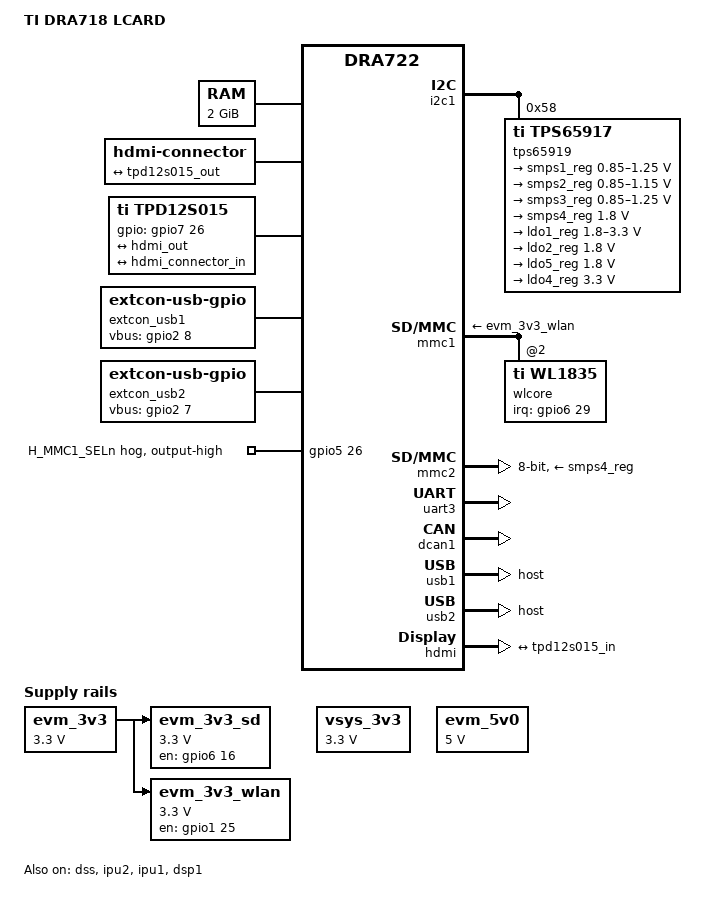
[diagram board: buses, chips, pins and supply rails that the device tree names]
/*
 * Copyright (C) 2017 Texas Instruments Incorporated - http://www.ti.com/
 *
 * This program is free software; you can redistribute it and/or modify
 * it under the terms of the GNU General Public License version 2 as
 * published by the Free Software Foundation.
 */
/dts-v1/;

#include "dra72x.dtsi"
#include "dra72x-mmc-iodelay.dtsi"
#include "dra7-ipu-dsp-common.dtsi"
#include <dt-bindings/net/ti-dp83867.h>
#include <dt-bindings/gpio/gpio.h>

/ {
	compatible = "ti,dra718-lcard", "ti,dra718", "ti,dra722", "ti,dra72", "ti,dra7";
	model = "TI DRA718 LCARD";
	chosen {
		stdout-path = &uart3;
	};

	aliases {
		display0 = &hdmi0;
		sound1 = &hdmi;
	};

	memory {
		device_type = "memory";
		reg = <0x0 0x80000000 0x0 0x80000000>; /* 2GB */
	};

	reserved-memory {
		#address-cells = <2>;
		#size-cells = <2>;
		ranges;

		ipu2_memory_region: ipu2-memory@95800000 {
			compatible = "shared-dma-pool";
			reg = <0x0 0x95800000 0x0 0x3800000>;
			reusable;
			status = "okay";
		};

		dsp1_memory_region: dsp1-memory@99000000 {
			compatible = "shared-dma-pool";
			reg = <0x0 0x99000000 0x0 0x4000000>;
			reusable;
			status = "okay";
		};

		ipu1_memory_region: ipu1-memory@9d000000 {
			compatible = "shared-dma-pool";
			reg = <0x0 0x9d000000 0x0 0x2000000>;
			reusable;
			status = "okay";
		};
	};

	evm_3v3: fixedregulator-evm_3v3 {
		compatible = "regulator-fixed";
		regulator-name = "vio_3v3";
		regulator-min-microvolt = <3300000>;
		regulator-max-microvolt = <3300000>;
		regulator-always-on;
		regulator-boot-on;
	};

	vsys_3v3: fixedregulator-vsys_3v3 {
		compatible = "regulator-fixed";
		regulator-name = "vsys_3v3";
		regulator-min-microvolt = <3300000>;
		regulator-max-microvolt = <3300000>;
		regulator-always-on;
		regulator-boot-on;
	};

	evm_5v0: fixedregulator-5v0 {
		compatible = "regulator-fixed";
		regulator-name = "evm_5v0";
		regulator-min-microvolt = <5000000>;
		regulator-max-microvolt = <5000000>;
		regulator-always-on;
		regulator-boot-on;
	};

	evm_3v3_sd: fixedregulator-sd {
		compatible = "regulator-fixed";
		regulator-name = "evm_3v3_sd";
		regulator-min-microvolt = <3300000>;
		regulator-max-microvolt = <3300000>;
		vin-supply = <&evm_3v3>;
		enable-active-high;
		gpio = <&gpio6 16 GPIO_ACTIVE_HIGH>;
	};

	evm_3v3_wlan: fixedregulator-wlan {
		compatible = "regulator-fixed";
		regulator-name = "evm_3v3_wlan";
		regulator-min-microvolt = <3300000>;
		regulator-max-microvolt = <3300000>;
		vin-supply = <&evm_3v3>;
		enable-active-high;
		regulator-always-on;
		gpio = <&gpio1 25 GPIO_ACTIVE_HIGH>;
	};

	hdmi0: connector {
		compatible = "hdmi-connector";
		label = "hdmi";

		type = "a";

		port {
			hdmi_connector_in: endpoint {
				remote-endpoint = <&tpd12s015_out>;
			};
		};
	};

	tpd12s015: encoder {
		compatible = "ti,tpd12s015";

		gpios = <0>, /* CT_CP_HPD is hardwired to high*/
			<0>, /* LS_OE  is hardwired to high*/
			<&gpio7 26 GPIO_ACTIVE_HIGH>;   /* HPD */

		ports {
			#address-cells = <1>;
			#size-cells = <0>;

			port@0 {
				reg = <0>;

				tpd12s015_in: endpoint {
					remote-endpoint = <&hdmi_out>;
				};
			};

			port@1 {
				reg = <1>;

				tpd12s015_out: endpoint {
					remote-endpoint = <&hdmi_connector_in>;
				};
			};
		};
	};

	extcon_usb1: extcon_usb1 {
		compatible = "linux,extcon-usb-gpio";
		vbus-gpio = <&gpio2 8 GPIO_ACTIVE_HIGH>;
	};

	extcon_usb2: extcon_usb2 {
		compatible = "linux,extcon-usb-gpio";
		vbus-gpio = <&gpio2 7 GPIO_ACTIVE_HIGH>;
	};
};

&i2c1 {
	status = "okay";

	tps65919: tps65919@58 {
		reg = <0x58>;
		compatible = "ti,tps65917";
		interrupt-controller;
		interrupt-cells = <2>;

		ti,system-power-controller;

		tps65919_pmic {
			compatible = "ti,tps65917-pmic";

			smps1-in-supply = <&vsys_3v3>;
			smps2-in-supply = <&vsys_3v3>;
			smps3-in-supply = <&vsys_3v3>;
			smps4-in-supply = <&vsys_3v3>;
			ldo1-in-supply = <&vsys_3v3>;
			ldo2-in-supply = <&vsys_3v3>;
			ldo4-in-supply = <&evm_5v0>;
			ldo5-in-supply = <&vsys_3v3>;

			tps65917_regulators: regulators {
				smps1_reg: smps1 {
					/* VDD_CORE */
					regulator-name = "smps1";
					regulator-min-microvolt = <850000>;
					regulator-max-microvolt = <1250000>;
					regulator-always-on;
					regulator-boot-on;
				};

				smps2_reg: smps2 {
					/* VDD_DDR */
					regulator-name = "smps2";
					regulator-min-microvolt = <850000>;
					regulator-max-microvolt = <1150000>;
					regulator-boot-on;
					regulator-always-on;
				};

				smps3_reg: smps3 {
					/* VDD_DSP */
					regulator-name = "smps3";
					regulator-min-microvolt = <850000>;
					regulator-max-microvolt = <1250000>;
					regulator-boot-on;
					regulator-always-on;
				};

				smps4_reg: smps4 {
					/* VDDS1V8 */
					regulator-name = "smps4";
					regulator-min-microvolt = <1800000>;
					regulator-max-microvolt = <1800000>;
					regulator-always-on;
					regulator-boot-on;
				};
				ldo1_reg: ldo1 {
					/* LDO1_OUT --> SDIO  */
					regulator-name = "ldo1";
					regulator-min-microvolt = <1800000>;
					regulator-max-microvolt = <3300000>;
					regulator-always-on;
					regulator-allow-bypass;

				};

				ldo2_reg: ldo2 {
					regulator-name = "ldo2";
					regulator-min-microvolt = <1800000>;
					regulator-max-microvolt = <1800000>;
					regulator-allow-bypass;
					regulator-always-on;
					regulator-boot-on;
				};

				ldo5_reg: ldo5 {
					/* VDDA_1V8_PLL */
					regulator-name = "ldo5";
					regulator-min-microvolt = <1800000>;
					regulator-max-microvolt = <1800000>;
					regulator-always-on;
					regulator-boot-on;
				};

				ldo4_reg: ldo4 {
					/* VDDA_3V_USB: VDDA_USBHS33 */
					regulator-name = "ldo4";
					regulator-min-microvolt = <3300000>;
					regulator-max-microvolt = <3300000>;
					regulator-always-on;
					regulator-boot-on;
				};
			};
		};
	};
};

&dra7_pmx_core {

	dcan1_pins_default: dcan1_pins_default {
		pinctrl-single,pins = <
			DRA7XX_CORE_IOPAD(0x37d0, PIN_OUTPUT_PULLUP | MUX_MODE0) /* dcan1_tx */
			DRA7XX_CORE_IOPAD(0x37d4, PIN_INPUT | MUX_MODE0)  /* dcan1_rx */
		>;
	};
	dcan1_pins_sleep: dcan1_pins_sleep {
		pinctrl-single,pins = <
			DRA7XX_CORE_IOPAD(0x37d0, MUX_MODE15 | PULL_UP)	/* dcan1_tx.off */
			DRA7XX_CORE_IOPAD(0x37d4, MUX_MODE15 | PULL_UP)	/* dcan1_rx.off */
		>;
	};

};

&gpio5 {
	status = "okay";

	p26 {
		/* H_MMC1_SELn : select between MMC1 and Wireless
		 * Low : MMC1 is selected
		 * HIGH: Wireless is selected
		 */

		gpio-hog;
		gpios = <26 GPIO_ACTIVE_HIGH>;
		output-high;
		line-name = "H_MMC1_SELn";
	};
};

&mmc1 {
	vmmc-supply = <&evm_3v3_wlan>;
	vmmc_aux-supply = <&ldo1_reg>;
	status = "okay";
	pinctrl-names = "default", "hs";
	pinctrl-0 = <&mmc1_pins_default>;
	pinctrl-1 = <&mmc1_pins_hs>;
	cap-power-off-card;
	keep-power-in-suspend;
	ti,non-removable;

	/delete-property/ sd-uhs-sdr104;
	/delete-property/ sd-uhs-sdr50;
	/delete-property/ sd-uhs-ddr50;
	/delete-property/ sd-uhs-sdr25;
	/delete-property/ sd-uhs-sdr12;

	#address-cells = <1>;
	#size-cells = <0>;
	wlcore: wlcore2 {
		status = "okay";
		compatible = "ti,wl1835";
		reg = <2>;
		interrupt-parent = <&gpio6>;
		interrupts = <29 IRQ_TYPE_LEVEL_HIGH>;
	};
};

&mmc2 {
	vmmc-supply = <&smps4_reg>;
	status = "okay";
	pinctrl-names = "default", "hs", "ddr_1_8v", "hs200_1_8v";
	pinctrl-0 = <&mmc2_pins_default>;
	pinctrl-1 = <&mmc2_pins_hs>;
	pinctrl-2 = <&mmc2_pins_ddr_rev20 &mmc2_iodelay_ddr_conf>;
	pinctrl-3 = <&mmc2_pins_hs200 &mmc2_iodelay_hs200_rev20_conf>;
	ti,non-removable;
	bus-width = <8>;

	/delete-property/ sd-uhs-sdr25;
	/delete-property/ sd-uhs-sdr12;
};

&uart3 {
	status = "okay";
	interrupts-extended = <&crossbar_mpu GIC_SPI 69 IRQ_TYPE_LEVEL_HIGH>,
			      <&dra7_pmx_core 0x3f8>;
};

&rtc {
	status = "disabled";
};

&dcan1 {
	status = "okay";
	pinctrl-names = "default", "sleep";
	pinctrl-0 = <&dcan1_pins_default>;
	pinctrl-1 = <&dcan1_pins_sleep>;
};

&omap_dwc3_1 {
	extcon = <&extcon_usb1>;
};

&omap_dwc3_2 {
	extcon = <&extcon_usb2>;
};

&usb2_phy1 {
	phy-supply = <&ldo2_reg>;
};

&usb2_phy2 {
	phy-supply = <&ldo4_reg>;
};

&usb1 {
	extcon = <&extcon_usb1>;
	status= "okay";
	dr_mode = "host";
};

&usb2 {
	extcon = <&extcon_usb2>;
	status = "okay";
	dr_mode = "host";
};

&dss {
	status = "ok";
	vdda_video-supply = <&ldo5_reg>;
};

&hdmi {
	status = "ok";
	vdda_video-supply = <&ldo2_reg>;

	port {
		hdmi_out: endpoint {
			remote-endpoint = <&tpd12s015_in>;
		};
	};
};

&ipu2 {
	status = "okay";
	memory-region = <&ipu2_memory_region>;
};

&ipu1 {
	status = "okay";
	memory-region = <&ipu1_memory_region>;
};

&dsp1 {
	status = "okay";
	memory-region = <&dsp1_memory_region>;
};
